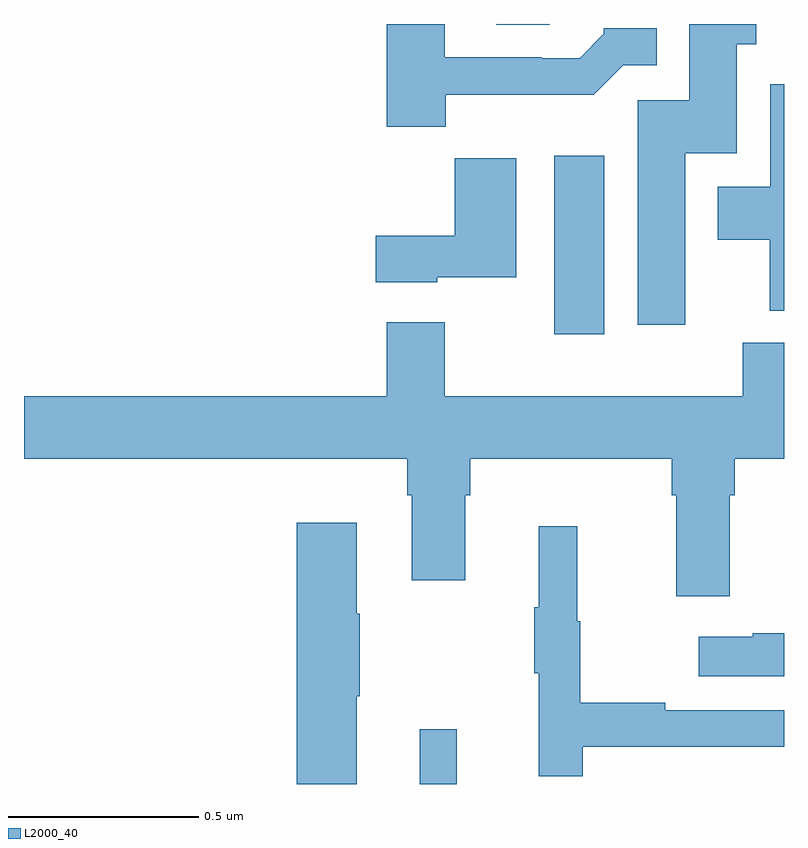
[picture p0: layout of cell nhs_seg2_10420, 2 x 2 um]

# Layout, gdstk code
import gdstk
lib = gdstk.Library(unit=1e-6, precision=1e-09)
def R(c, l, rs):  # rectangles x0, y0, x1, y1
    for r in rs: c.add(gdstk.rectangle(r[:2], r[2:], *l))
def P(c, l, *ps):  # polygons
    for p in ps: c.add(gdstk.Polygon(p, *l))
L2000_40 = (2000, 40)

nhs_seg2_10420 = lib.new_cell('nhs_seg2_10420')
R(nhs_seg2_10420, L2000_40, [(242.042,626.8,242.139,626.944), (242.396,627.984,242.527,628.453), (242.243,628.798,242.383,628.8)])
P(nhs_seg2_10420, L2000_40, [(242.11,628.614),(242.499,628.614),(242.577,628.692),(242.665,628.692),(242.665,628.789),(242.526,628.789),(242.526,628.774),(242.462,628.71),(242.363,628.71),(242.363,628.713),(242.107,628.713),(242.107,628.8),(241.955,628.8),(241.955,628.529),(242.11,628.529)],
  [(242.74,628.46),(242.875,628.46),(242.875,628.747),(242.927,628.747),(242.927,628.8),(242.75,628.8),(242.75,628.599),(242.615,628.599),(242.615,628.008),(242.74,628.008)],
  [(243,628.642),(242.964,628.642),(242.964,628.372),(242.825,628.372),(242.825,628.232),(242.962,628.232),(242.962,628.046),(243,628.046)],
  [(242.088,628.133),(242.296,628.133),(242.296,628.447),(242.134,628.447),(242.134,628.243),(241.926,628.243),(241.926,628.121),(242.088,628.121)],
  [(242.107,628.015),(241.955,628.015),(241.955,627.82),(241,627.82),(241,627.656),(242.009,627.656),(242.009,627.56),(242.021,627.56),(242.021,627.336),(242.161,627.336),(242.161,627.56),(242.174,627.56),(242.174,627.656),(242.705,627.656),(242.705,627.56),(242.717,627.56),(242.717,627.294),(242.857,627.294),(242.857,627.56),(242.87,627.56),(242.87,627.656),(243,627.656),(243,627.961),(242.891,627.961),(242.891,627.82),(242.107,627.82)],
  [(241.876,627.031),(241.884,627.031),(241.884,627.248),(241.876,627.248),(241.876,627.487),(241.718,627.487),(241.718,626.8),(241.876,626.8)],
  [(242.471,626.898),(243,626.898),(243,626.994),(242.687,626.994),(242.687,627.014),(242.464,627.014),(242.464,627.228),(242.456,627.228),(242.456,627.478),(242.354,627.478),(242.354,627.265),(242.343,627.265),(242.343,627.091),(242.354,627.091),(242.354,626.82),(242.471,626.82)],
  [(243,627.197),(242.918,627.197),(242.918,627.187),(242.775,627.187),(242.775,627.083),(243,627.083)])

lib.write_gds('nhs_seg2_10420.gds')
